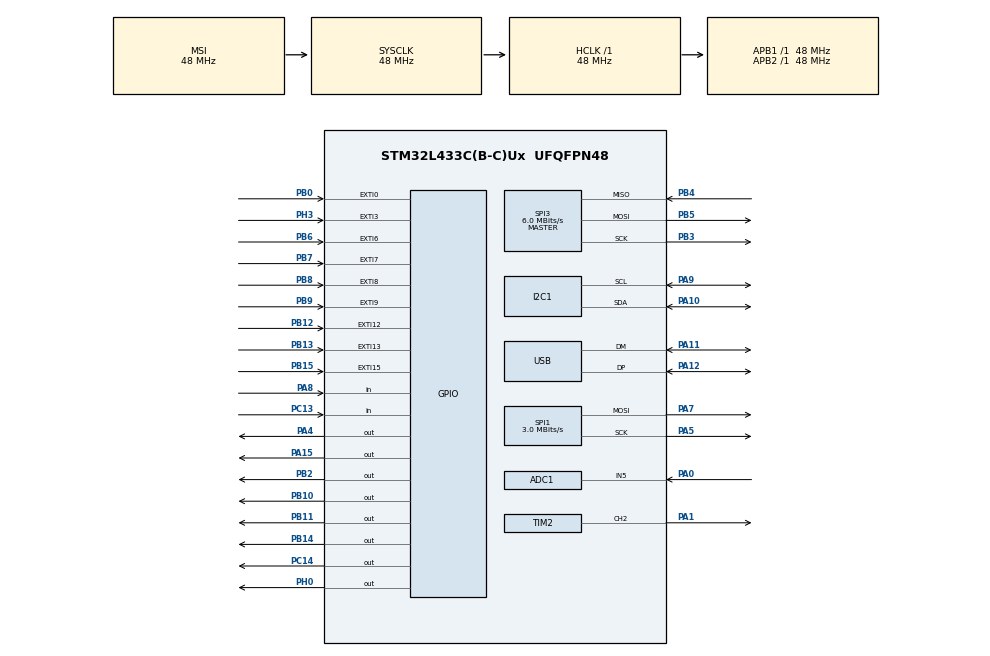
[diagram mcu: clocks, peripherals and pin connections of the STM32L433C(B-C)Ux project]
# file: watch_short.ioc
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ADC1.Channel-0\#ChannelRegularConversion=ADC_CHANNEL_5
ADC1.NbrOfConversionFlag=1
ADC1.OffsetNumber-0\#ChannelRegularConversion=ADC_OFFSET_NONE
ADC1.Rank-0\#ChannelRegularConversion=1
ADC1.SamplingTime-0\#ChannelRegularConversion=ADC_SAMPLETIME_2CYCLES_5
ADC1.master=1
Dma.Request0=SPI1_TX
Dma.SPI1_TX.0.Direction=DMA_MEMORY_TO_PERIPH
Dma.SPI1_TX.0.Instance=DMA1_Channel3
Dma.SPI1_TX.0.MemDataAlignment=DMA_MDATAALIGN_BYTE
Dma.SPI1_TX.0.MemInc=DMA_MINC_ENABLE
Dma.SPI1_TX.0.Mode=DMA_NORMAL
Dma.SPI1_TX.0.PeriphDataAlignment=DMA_PDATAALIGN_BYTE
Dma.SPI1_TX.0.PeriphInc=DMA_PINC_DISABLE
Dma.SPI1_TX.0.Priority=DMA_PRIORITY_LOW
I2C1.Timing=0x20303E5D
Mcu.Family=STM32L4
Mcu.Name=STM32L433C(B-C)Ux
Mcu.Package=UFQFPN48
NVIC.DMA1_Channel3_IRQn=true\:0\:0\:false\:false\:true
NVIC.EXTI0_IRQn=true\:0\:0\:false\:false\:true
NVIC.EXTI15_10_IRQn=true\:0\:0\:false\:false\:true
NVIC.EXTI3_IRQn=true\:0\:0\:false\:false\:true
NVIC.EXTI9_5_IRQn=true\:0\:0\:false\:false\:true
NVIC.PriorityGroup=NVIC_PRIORITYGROUP_4
NVIC.TIM6_DAC_IRQn=true\:0\:0\:false\:false\:true
NVIC.USB_IRQn=true\:0\:0\:false\:false\:true
PA0.Signal=ADCx_IN5
PA1.GPIO_Speed=GPIO_SPEED_FREQ_MEDIUM
PA1.Signal=S_TIM2_CH2
PA10.Mode=I2C
PA10.Signal=I2C1_SDA
PA11.Mode=Device
PA11.Signal=USB_DM
PA12.Mode=Device
PA12.Signal=USB_DP
PA13\ (JTMS-SWDIO).Mode=Serial_Wire
PA13\ (JTMS-SWDIO).Signal=SYS_JTMS-SWDIO
PA14\ (JTCK-SWCLK).Mode=Serial_Wire
PA14\ (JTCK-SWCLK).Signal=SYS_JTCK-SWCLK
PA15\ (JTDI).Signal=GPIO_Output
PA4.Signal=GPIO_Output
PA5.Mode=TX_Only_Simplex_Unidirect_Master
PA5.Signal=SPI1_SCK
PA7.Mode=TX_Only_Simplex_Unidirect_Master
PA7.Signal=SPI1_MOSI
PA8.Signal=GPIO_Input
PA9.Mode=I2C
PA9.Signal=I2C1_SCL
PB0.Signal=GPXTI0
PB10.Signal=GPIO_Output
PB11.Signal=GPIO_Output
PB12.Signal=GPXTI12
PB13.Signal=GPXTI13
PB14.Signal=GPIO_Output
PB15.Signal=GPXTI15
PB2.Signal=GPIO_Output
PB3\ (JTDO-TRACESWO).Mode=Full_Duplex_Master
PB3\ (JTDO-TRACESWO).Signal=SPI3_SCK
PB4\ (NJTRST).Mode=Full_Duplex_Master
PB4\ (NJTRST).Signal=SPI3_MISO
PB5.Mode=Full_Duplex_Master
PB5.Signal=SPI3_MOSI
PB6.Signal=GPXTI6
PB7.Signal=GPXTI7
PB8.Signal=GPXTI8
PB9.Signal=GPXTI9
PC13.Signal=GPIO_Input
PC14-OSC32_IN\ (PC14).Signal=GPIO_Output
PH0-OSC_IN\ (PH0).Signal=GPIO_Output
PH3-BOOT0.Signal=GPXTI3
ProjectManager.HeapSize=0x400
ProjectManager.StackSize=0x400
ProjectManager.TargetToolchain=SW4STM32
RCC.ADCCLockSelection=RCC_ADCCLKSOURCE_SYSCLK
RCC.ADCFreq_Value=48000000
RCC.AHBFreq_Value=48000000
RCC.APB1Freq_Value=48000000
RCC.APB1TimFreq_Value=48000000
RCC.APB2Freq_Value=48000000
RCC.APB2TimFreq_Value=48000000
RCC.CK48CLockSelection=RCC_USBCLKSOURCE_HSI48
RCC.CortexFreq_Value=48000000
RCC.HCLKFreq_Value=48000000
RCC.HSE_VALUE=8000000
RCC.HSI48_VALUE=48000000
RCC.HSI_VALUE=16000000
RCC.LSE_VALUE=32768
RCC.MSIClockRange=RCC_MSIRANGE_11
RCC.MSI_VALUE=48000000
RCC.PLLM=4
RCC.PLLN=12
RCC.PLLSAI1N=20
RCC.PLLSAI1Q=RCC_PLLQ_DIV8
RCC.PLLSAI1R=RCC_PLLR_DIV8
RCC.SYSCLKFreq_VALUE=48000000
RCC.USBFreq_Value=48000000
RCC.VCOOutputFreq_Value=144000000
RCC.VDD_VALUE=2.5
SH.ADCx_IN5.0=ADC1_IN5,IN5-Single-Ended
SH.S_TIM2_CH2.0=TIM2_CH2,PWM Generation2 CH2
SPI1.BaudRatePrescaler=SPI_BAUDRATEPRESCALER_16
SPI1.CalculateBaudRate=3.0 MBits/s
SPI1.DataSize=SPI_DATASIZE_8BIT
SPI1.Mode=SPI_MODE_MASTER
SPI1.NSSPMode=SPI_NSS_PULSE_DISABLE
SPI3.BaudRatePrescaler=SPI_BAUDRATEPRESCALER_8
SPI3.CalculateBaudRate=6.0 MBits/s
SPI3.DataSize=SPI_DATASIZE_8BIT
SPI3.Mode=SPI_MODE_MASTER
SPI3.NSSPMode=SPI_NSS_PULSE_DISABLE
TIM2.Channel-PWM\ Generation2\ CH2=TIM_CHANNEL_2
TIM2.Period=2250
TIM2.Prescaler=2
TIM2.Pulse-PWM\ Generation2\ CH2=1500
TIM6.Period=999
TIM6.Prescaler=999
USB.low_power_enable=ENABLE
USB_DEVICE.CLASS_NAME_FS=CDC
USB_DEVICE.USBD_HandleTypeDef=hUsbDeviceFS
USB_DEVICE.VirtualMode=Cdc
USB_DEVICE.VirtualModeFS=Cdc_FS
VP_RCC_USB.Mode=CRS SYNC Source USB
VP_TIM15_VS_ClockSourceINT.Mode=Internal
VP_TIM2_VS_ClockSourceINT.Mode=Internal
VP_TIM6_VS_ClockSourceINT.Mode=Enable_Timer
VP_TIM6_VS_OPM.Mode=OPM_bit
VP_USB_DEVICE_VS_USB_DEVICE_CDC_FS.Mode=CDC_FS
board=watch_short

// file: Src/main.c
/**
  ******************************************************************************
  * File Name          : main.c
  * Description        : Main program body
  ******************************************************************************
  *
  * Copyright (c) 2017 STMicroelectronics International N.V.
  * All rights reserved.
  *
  * Redistribution and use in source and binary forms, with or without
  * modification, are permitted, provided that the following conditions are met:
  *
  * 1. Redistribution of source code must retain the above copyright notice,
  *    this list of conditions and the following disclaimer.
  * 2. Redistributions in binary form must reproduce the above copyright notice,
  *    this list of conditions and the following disclaimer in the documentation
  *    and/or other materials provided with the distribution.
  * 3. Neither the name of STMicroelectronics nor the names of other
  *    contributors to this software may be used to endorse or promote products
  *    derived from this software without specific written permission.
  * 4. This software, including modifications and/or derivative works of this
  *    software, must execute solely and exclusively on microcontroller or
  *    microprocessor devices manufactured by or for STMicroelectronics.
  * 5. Redistribution and use of this software other than as permitted under
  *    this license is void and will automatically terminate your rights under
  *    this license.
  *
  * THIS SOFTWARE IS PROVIDED BY STMICROELECTRONICS AND CONTRIBUTORS "AS IS"
  * AND ANY EXPRESS, IMPLIED OR STATUTORY WARRANTIES, INCLUDING, BUT NOT
  * LIMITED TO, THE IMPLIED WARRANTIES OF MERCHANTABILITY, FITNESS FOR A
  * PARTICULAR PURPOSE AND NON-INFRINGEMENT OF THIRD PARTY INTELLECTUAL PROPERTY
  * RIGHTS ARE DISCLAIMED TO THE FULLEST EXTENT PERMITTED BY LAW. IN NO EVENT
  * SHALL STMICROELECTRONICS OR CONTRIBUTORS BE LIABLE FOR ANY DIRECT, INDIRECT,
  * INCIDENTAL, SPECIAL, EXEMPLARY, OR CONSEQUENTIAL DAMAGES (INCLUDING, BUT NOT
  * LIMITED TO, PROCUREMENT OF SUBSTITUTE GOODS OR SERVICES; LOSS OF USE, DATA,
  * OR PROFITS; OR BUSINESS INTERRUPTION) HOWEVER CAUSED AND ON ANY THEORY OF
  * LIABILITY, WHETHER IN CONTRACT, STRICT LIABILITY, OR TORT (INCLUDING
  * NEGLIGENCE OR OTHERWISE) ARISING IN ANY WAY OUT OF THE USE OF THIS SOFTWARE,
  * EVEN IF ADVISED OF THE POSSIBILITY OF SUCH DAMAGE.
  *
  ******************************************************************************
  */
#include "main.h"
#include "stm32l4xx_hal.h"
#include "usb_device.h"

/* USER CODE BEGIN Includes */
//#include "math.h"
//#include "stdlib.h"
#include "sh1106.h"
#include "kx023.h"
#include "m41t62.h"
#include "wotch.h"
#include "lcd.h"
#include "menu.h"
#include "usb.h"
/* USER CODE END Includes */

ADC_HandleTypeDef hadc1;

I2C_HandleTypeDef hi2c1;

SPI_HandleTypeDef hspi1;
SPI_HandleTypeDef hspi3;
DMA_HandleTypeDef hdma_spi1_tx;

TIM_HandleTypeDef htim2;
TIM_HandleTypeDef htim6;
TIM_HandleTypeDef htim15;

/* USER CODE BEGIN PV */
/* Private variables ---------------------------------------------------------*/
int error = 0;
wotch_struct wotch1;
uint32_t uhPrescalerValue = 0;
uint16_t adc_tmp1;

#define VREFINT_CAL_ADDR    0x1FFF75AA
#define  PERIOD_VALUE       (uint32_t)(3000 - 1)  /* Period Value  */
#define  PULSE1_VALUE       (uint32_t)(PERIOD_VALUE/2)        /* Capture Compare 1 Value  */
/* USER CODE END PV */

void SystemClock_Config(void);
void Error_Handler(void);
static void MX_GPIO_Init(void);
static void MX_DMA_Init(void);
static void MX_ADC1_Init(void);
static void MX_I2C1_Init(void);
static void MX_SPI1_Init(void);
static void MX_SPI3_Init(void);
static void MX_TIM2_Init(void);
static void MX_TIM6_Init(void);
static void MX_TIM15_Init(void);

void HAL_TIM_MspPostInit(TIM_HandleTypeDef *htim);
void go_into_stop2_mode(void);

/* USER CODE BEGIN PFP */
/* Private function prototypes -----------------------------------------------*/

/* USER CODE END PFP */

int main(void)
{

  /* MCU Configuration----------------------------------------------------------*/

  /* Reset of all peripherals, Initializes the Flash interface and the Systick. */

	HAL_Init();

	/* Configure the system clock */
	SystemClock_Config();

	/* Initialize all configured peripherals */
	MX_GPIO_Init();
	MX_DMA_Init();
	MX_ADC1_Init();
	MX_I2C1_Init();
	MX_SPI1_Init();
	MX_SPI3_Init();
	//MX_USB_DEVICE_Init();
	MX_TIM2_Init();
	MX_TIM6_Init();
	MX_TIM15_Init();

  /* USER CODE BEGIN 2 */
//	uhPrescalerValue = (uint32_t)(SystemCoreClock / 16000000) - 1;
//	htim2.Init.Prescaler = uhPrescalerValue;
//	HAL_TIM_Base_Init(&htim2);
	wotch_init(&wotch1);		// application initialization
	SH1106_init();				// OLED driver initialization
	wotch1.redraw();
	HAL_Delay(100);

	//show_main_screen(&wotch1);
	error = kx023_init();				// accelerometer initialization
    kx023_TAP_setup();
	m41t62_init(); 				// RTC initialization
	m41t62_SQW(1);				// start square wave output of RTC clock, GPIOB.8 pin

	if (HAL_ADCEx_Calibration_Start(&hadc1, ADC_SINGLE_ENDED) != HAL_OK)
	{
	    Error_Handler();
	};
//  read_bat_voltage();

uint16_t vrefint_cal;                        // VREFINT calibration value
vrefint_cal= *((uint16_t*)VREFINT_CAL_ADDR); // read VREFINT_CAL_ADDR memory location

//  htim2.Instance->ARR = 2250;
//  htim2.Instance->CCR2 = 1500;

  /* USER CODE END 2 */

  /* Infinite loop */
  /* USER CODE BEGIN WHILE */
//  uint8_t beep = 0;
//  if (beep){
//	  HAL_TIM_PWM_Start(&htim2, TIM_CHANNEL_2);
//	  HAL_Delay(300);
//	  HAL_TIM_PWM_Stop(&htim2, TIM_CHANNEL_2);
//	  beep = 0;
//  };
//

/* PWR mode STOP 2 testing */
  /* Enable Power Clock */
  __HAL_RCC_PWR_CLK_ENABLE();
  __HAL_RCC_WAKEUPSTOP_CLK_CONFIG(RCC_STOP_WAKEUPCLOCK_MSI); // Ensure that MSI is wake-up system clock
/* PWR mode STOP 2 testing */

  while (1)
  {
	second_int_manager(&wotch1); // manages 1sec period interrupts from RTC. Should run in parallel to all other apps
	wotch1.active_manager(&wotch1); // current active process (main screen, menu, end apps)
	//manage_buttons(&wotch1);
	//manage_taps_and_tilts(&wotch1);
	if (wotch1.measure_bat_voltage) // battery voltage measurement every 1 second
	{
		//HAL_ADCEx_Calibration_Start(&hadc1, ADC_SINGLE_ENDED);
		uint32_t a = (uint32_t)read_bat_voltage();
		float d = (float)a;
		wotch1.vbat = d*0.001462; //2.516Vdd*1.99divider/4095
		wotch1.measure_bat_voltage  = 0;
	};
//	if (usb_command_received)
//	{
//		USB_decode_command();
//	};

  /* USER CODE END WHILE */

  /* USER CODE BEGIN 3 */

/* PWR mode STOP 2 testing */
#if USE_STOP_MODE
	if ((wotch1.autosleep > 10000)&&(wotch1.use_autosleep))
	{
		wotch1.autosleep = 0;
		go_into_stop2_mode();
	};
#endif
/* PWR mode STOP 2 testing */

  }
  /* USER CODE END 3 */

}

/** System Clock Configuration
*/
void SystemClock_Config(void)
{

  RCC_OscInitTypeDef RCC_OscInitStruct;
  RCC_ClkInitTypeDef RCC_ClkInitStruct;
  RCC_PeriphCLKInitTypeDef PeriphClkInit;
  RCC_CRSInitTypeDef RCC_CRSInitStruct;

    /**Initializes the CPU, AHB and APB busses clocks
    */
  RCC_OscInitStruct.OscillatorType = RCC_OSCILLATORTYPE_HSI48|RCC_OSCILLATORTYPE_MSI;
  RCC_OscInitStruct.HSI48State = RCC_HSI48_ON;
  RCC_OscInitStruct.MSIState = RCC_MSI_ON;
  RCC_OscInitStruct.MSICalibrationValue = 0;
  RCC_OscInitStruct.MSIClockRange = RCC_MSIRANGE_11;
  RCC_OscInitStruct.PLL.PLLState = RCC_PLL_NONE;
  if (HAL_RCC_OscConfig(&RCC_OscInitStruct) != HAL_OK)
  {
    Error_Handler();
  }

    /**Initializes the CPU, AHB and APB busses clocks
    */
  RCC_ClkInitStruct.ClockType = RCC_CLOCKTYPE_HCLK|RCC_CLOCKTYPE_SYSCLK
                              |RCC_CLOCKTYPE_PCLK1|RCC_CLOCKTYPE_PCLK2;
  RCC_ClkInitStruct.SYSCLKSource = RCC_SYSCLKSOURCE_MSI;
  RCC_ClkInitStruct.AHBCLKDivider = RCC_SYSCLK_DIV1;
  RCC_ClkInitStruct.APB1CLKDivider = RCC_HCLK_DIV1;
  RCC_ClkInitStruct.APB2CLKDivider = RCC_HCLK_DIV1;

  if (HAL_RCC_ClockConfig(&RCC_ClkInitStruct, FLASH_LATENCY_2) != HAL_OK)
  {
    Error_Handler();
  }

  PeriphClkInit.PeriphClockSelection = RCC_PERIPHCLK_I2C1|RCC_PERIPHCLK_USB
                              |RCC_PERIPHCLK_ADC;
  PeriphClkInit.I2c1ClockSelection = RCC_I2C1CLKSOURCE_PCLK1;
  PeriphClkInit.AdcClockSelection = RCC_ADCCLKSOURCE_SYSCLK;
  PeriphClkInit.UsbClockSelection = RCC_USBCLKSOURCE_HSI48;
  if (HAL_RCCEx_PeriphCLKConfig(&PeriphClkInit) != HAL_OK)
  {
    Error_Handler();
  }

    /**Configure the main internal regulator output voltage
    */
  if (HAL_PWREx_ControlVoltageScaling(PWR_REGULATOR_VOLTAGE_SCALE1) != HAL_OK)
  {
    Error_Handler();
  }

    /**Configure the Systick interrupt time
    */
  HAL_SYSTICK_Config(HAL_RCC_GetHCLKFreq()/1000);

    /**Configure the Systick
    */
  HAL_SYSTICK_CLKSourceConfig(SYSTICK_CLKSOURCE_HCLK);

    /**Enable the SYSCFG APB clock
    */
  __HAL_RCC_CRS_CLK_ENABLE();

    /**Configures CRS
    */
  RCC_CRSInitStruct.Prescaler = RCC_CRS_SYNC_DIV1;
  RCC_CRSInitStruct.Source = RCC_CRS_SYNC_SOURCE_USB;
  RCC_CRSInitStruct.Polarity = RCC_CRS_SYNC_POLARITY_RISING;
  RCC_CRSInitStruct.ReloadValue = __HAL_RCC_CRS_RELOADVALUE_CALCULATE(48000000,1000);
  RCC_CRSInitStruct.ErrorLimitValue = 34;
  RCC_CRSInitStruct.HSI48CalibrationValue = 32;

  HAL_RCCEx_CRSConfig(&RCC_CRSInitStruct);

  /* SysTick_IRQn interrupt configuration */
  HAL_NVIC_SetPriority(SysTick_IRQn, 0, 0);
}

/* ADC1 init function */
static void MX_ADC1_Init(void)
{

  ADC_ChannelConfTypeDef sConfig;

    /**Common config
    */
  hadc1.Instance = ADC1;
  hadc1.Init.ClockPrescaler = ADC_CLOCK_ASYNC_DIV1;
  hadc1.Init.Resolution = ADC_RESOLUTION_12B;
  hadc1.Init.DataAlign = ADC_DATAALIGN_RIGHT;
  hadc1.Init.ScanConvMode = ADC_SCAN_DISABLE;
  hadc1.Init.EOCSelection = ADC_EOC_SINGLE_CONV;
  hadc1.Init.LowPowerAutoWait = DISABLE;
  hadc1.Init.ContinuousConvMode = DISABLE;
  hadc1.Init.NbrOfConversion = 1;
  hadc1.Init.DiscontinuousConvMode = DISABLE;
  hadc1.Init.NbrOfDiscConversion = 1;
  hadc1.Init.ExternalTrigConv = ADC_SOFTWARE_START;
  hadc1.Init.ExternalTrigConvEdge = ADC_EXTERNALTRIGCONVEDGE_NONE;
  hadc1.Init.DMAContinuousRequests = DISABLE;
  hadc1.Init.Overrun = ADC_OVR_DATA_PRESERVED;
  hadc1.Init.OversamplingMode = DISABLE;
  if (HAL_ADC_Init(&hadc1) != HAL_OK)
  {
    Error_Handler();
  }

    /**Configure Regular Channel
    */
  sConfig.Channel = ADC_CHANNEL_5;
  sConfig.Rank = 1;
  sConfig.SamplingTime = ADC_SAMPLETIME_92CYCLES_5;
  sConfig.SingleDiff = ADC_SINGLE_ENDED;
  sConfig.OffsetNumber = ADC_OFFSET_NONE;
  sConfig.Offset = 0;
  if (HAL_ADC_ConfigChannel(&hadc1, &sConfig) != HAL_OK)
  {
    Error_Handler();
  }

}

/* I2C1 init function */
static void MX_I2C1_Init(void)
{

  hi2c1.Instance = I2C1;
  hi2c1.Init.Timing = 0x20303E5D;
  hi2c1.Init.OwnAddress1 = 0;
  hi2c1.Init.AddressingMode = I2C_ADDRESSINGMODE_7BIT;
  hi2c1.Init.DualAddressMode = I2C_DUALADDRESS_DISABLE;
  hi2c1.Init.OwnAddress2 = 0;
  hi2c1.Init.OwnAddress2Masks = I2C_OA2_NOMASK;
  hi2c1.Init.GeneralCallMode = I2C_GENERALCALL_DISABLE;
  hi2c1.Init.NoStretchMode = I2C_NOSTRETCH_DISABLE;
  if (HAL_I2C_Init(&hi2c1) != HAL_OK)
  {
    Error_Handler();
  }

    /**Configure Analogue filter
    */
  if (HAL_I2CEx_ConfigAnalogFilter(&hi2c1, I2C_ANALOGFILTER_ENABLE) != HAL_OK)
  {
    Error_Handler();
  }

}

/* SPI1 init function */
static void MX_SPI1_Init(void)
{

  hspi1.Instance = SPI1;
  hspi1.Init.Mode = SPI_MODE_MASTER;
  hspi1.Init.Direction = SPI_DIRECTION_2LINES;
  hspi1.Init.DataSize = SPI_DATASIZE_8BIT;
  hspi1.Init.CLKPolarity = SPI_POLARITY_LOW;
  hspi1.Init.CLKPhase = SPI_PHASE_1EDGE;
  hspi1.Init.NSS = SPI_NSS_SOFT;
  hspi1.Init.BaudRatePrescaler = SPI_BAUDRATEPRESCALER_16;
  hspi1.Init.FirstBit = SPI_FIRSTBIT_MSB;
  hspi1.Init.TIMode = SPI_TIMODE_DISABLE;
  hspi1.Init.CRCCalculation = SPI_CRCCALCULATION_DISABLE;
  hspi1.Init.CRCPolynomial = 7;
  hspi1.Init.CRCLength = SPI_CRC_LENGTH_DATASIZE;
  hspi1.Init.NSSPMode = SPI_NSS_PULSE_DISABLE;
  if (HAL_SPI_Init(&hspi1) != HAL_OK)
  {
    Error_Handler();
  }

}

/* SPI3 init function */
static void MX_SPI3_Init(void)
{

  hspi3.Instance = SPI3;
  hspi3.Init.Mode = SPI_MODE_MASTER;
  hspi3.Init.Direction = SPI_DIRECTION_2LINES;
  hspi3.Init.DataSize = SPI_DATASIZE_8BIT;
  hspi3.Init.CLKPolarity = SPI_POLARITY_LOW;
  hspi3.Init.CLKPhase = SPI_PHASE_1EDGE;
  hspi3.Init.NSS = SPI_NSS_SOFT;
  hspi3.Init.BaudRatePrescaler = SPI_BAUDRATEPRESCALER_8;
  hspi3.Init.FirstBit = SPI_FIRSTBIT_MSB;
  hspi3.Init.TIMode = SPI_TIMODE_DISABLE;
  hspi3.Init.CRCCalculation = SPI_CRCCALCULATION_DISABLE;
  hspi3.Init.CRCPolynomial = 7;
  hspi3.Init.CRCLength = SPI_CRC_LENGTH_DATASIZE;
  hspi3.Init.NSSPMode = SPI_NSS_PULSE_DISABLE;
  if (HAL_SPI_Init(&hspi3) != HAL_OK)
  {
    Error_Handler();
  }

}

/* TIM2 init function */
static void MX_TIM2_Init(void)
{

  TIM_ClockConfigTypeDef sClockSourceConfig;
  TIM_MasterConfigTypeDef sMasterConfig;
  TIM_OC_InitTypeDef sConfigOC;

  htim2.Instance = TIM2;
  htim2.Init.Prescaler = 2;
  htim2.Init.CounterMode = TIM_COUNTERMODE_UP;
  htim2.Init.Period = 2250;
  htim2.Init.ClockDivision = TIM_CLOCKDIVISION_DIV1;
  if (HAL_TIM_Base_Init(&htim2) != HAL_OK)
  {
    Error_Handler();
  }

  sClockSourceConfig.ClockSource = TIM_CLOCKSOURCE_INTERNAL;
  if (HAL_TIM_ConfigClockSource(&htim2, &sClockSourceConfig) != HAL_OK)
  {
    Error_Handler();
  }

  if (HAL_TIM_PWM_Init(&htim2) != HAL_OK)
  {
    Error_Handler();
  }

  sMasterConfig.MasterOutputTrigger = TIM_TRGO_RESET;
  sMasterConfig.MasterSlaveMode = TIM_MASTERSLAVEMODE_DISABLE;
  if (HAL_TIMEx_MasterConfigSynchronization(&htim2, &sMasterConfig) != HAL_OK)
  {
    Error_Handler();
  }

  sConfigOC.OCMode = TIM_OCMODE_PWM1;
  sConfigOC.Pulse = 1500;
  sConfigOC.OCPolarity = TIM_OCPOLARITY_HIGH;
  sConfigOC.OCFastMode = TIM_OCFAST_DISABLE;
  if (HAL_TIM_PWM_ConfigChannel(&htim2, &sConfigOC, TIM_CHANNEL_2) != HAL_OK)
  {
    Error_Handler();
  }

  HAL_TIM_MspPostInit(&htim2);

}

/* TIM6 init function */
static void MX_TIM6_Init(void)
{

  TIM_MasterConfigTypeDef sMasterConfig;

  htim6.Instance = TIM6;
  htim6.Init.Prescaler = 999;
  htim6.Init.CounterMode = TIM_COUNTERMODE_UP;
  htim6.Init.Period = 9999;
  if (HAL_TIM_Base_Init(&htim6) != HAL_OK)
  {
    Error_Handler();
  }

//  if (HAL_TIM_OnePulse_Init(&htim6, TIM_OPMODE_SINGLE) != HAL_OK)
//  {
//    Error_Handler();
//  }

  sMasterConfig.MasterOutputTrigger = TIM_TRGO_RESET;
  sMasterConfig.MasterSlaveMode = TIM_MASTERSLAVEMODE_DISABLE;
  if (HAL_TIMEx_MasterConfigSynchronization(&htim6, &sMasterConfig) != HAL_OK)
  {
    Error_Handler();
  }
  /* USER CODE BEGIN 4 */
  if (HAL_TIM_Base_Start_IT(&htim6) != HAL_OK)
    {
      Error_Handler();
    }
  /* USER CODE END 4 */
}

/* TIM15 init function */
static void MX_TIM15_Init(void)
{

  TIM_ClockConfigTypeDef sClockSourceConfig;
  TIM_MasterConfigTypeDef sMasterConfig;

  htim15.Instance = TIM15;
  htim15.Init.Prescaler = 0;
  htim15.Init.CounterMode = TIM_COUNTERMODE_UP;
  htim15.Init.Period = 0;
  htim15.Init.ClockDivision = TIM_CLOCKDIVISION_DIV1;
  htim15.Init.RepetitionCounter = 0;
  if (HAL_TIM_Base_Init(&htim15) != HAL_OK)
  {
    Error_Handler();
  }

  sClockSourceConfig.ClockSource = TIM_CLOCKSOURCE_INTERNAL;
  if (HAL_TIM_ConfigClockSource(&htim15, &sClockSourceConfig) != HAL_OK)
  {
    Error_Handler();
  }

  sMasterConfig.MasterOutputTrigger = TIM_TRGO_RESET;
  sMasterConfig.MasterSlaveMode = TIM_MASTERSLAVEMODE_DISABLE;
  if (HAL_TIMEx_MasterConfigSynchronization(&htim15, &sMasterConfig) != HAL_OK)
  {
    Error_Handler();
  }

}

static void MX_DMA_Init(void)
{
  /* DMA controller clock enable */
  __HAL_RCC_DMA1_CLK_ENABLE();

  /* DMA interrupt init */
  /* DMA1_Channel3_IRQn interrupt configuration */
  HAL_NVIC_SetPriority(DMA1_Channel3_IRQn, 0, 0);
  HAL_NVIC_EnableIRQ(DMA1_Channel3_IRQn);

}

/** Configure pins as
        * Analog
        * Input
        * Output
        * EVENT_OUT
        * EXTI
*/
static void MX_GPIO_Init(void)
{

  GPIO_InitTypeDef GPIO_InitStruct;

  /* GPIO Ports Clock Enable */
  __HAL_RCC_GPIOC_CLK_ENABLE();
  __HAL_RCC_GPIOH_CLK_ENABLE();
  __HAL_RCC_GPIOA_CLK_ENABLE();
  __HAL_RCC_GPIOB_CLK_ENABLE();

  /*Configure GPIO pin : PC13 */
  GPIO_InitStruct.Pin = GPIO_PIN_13;
  GPIO_InitStruct.Mode = GPIO_MODE_INPUT;
  GPIO_InitStruct.Pull = GPIO_NOPULL;
  HAL_GPIO_Init(GPIOC, &GPIO_InitStruct);

  /*Configure GPIO pin : PC14 */
  GPIO_InitStruct.Pin = GPIO_PIN_14;
  GPIO_InitStruct.Mode = GPIO_MODE_OUTPUT_PP;
  GPIO_InitStruct.Pull = GPIO_NOPULL;
  GPIO_InitStruct.Speed = GPIO_SPEED_FREQ_LOW;
  HAL_GPIO_Init(GPIOC, &GPIO_InitStruct);

  /*Configure GPIO pin : PH0 */
  GPIO_InitStruct.Pin = GPIO_PIN_0;
  GPIO_InitStruct.Mode = GPIO_MODE_OUTPUT_PP;
  GPIO_InitStruct.Pull = GPIO_NOPULL;
  GPIO_InitStruct.Speed = GPIO_SPEED_FREQ_LOW;
  HAL_GPIO_Init(GPIOH, &GPIO_InitStruct);

  /*Configure GPIO pins : PA4 PA15 */
  GPIO_InitStruct.Pin = GPIO_PIN_4|GPIO_PIN_15;
  GPIO_InitStruct.Mode = GPIO_MODE_OUTPUT_PP;
  GPIO_InitStruct.Pull = GPIO_NOPULL;
  GPIO_InitStruct.Speed = GPIO_SPEED_FREQ_LOW;
  HAL_GPIO_Init(GPIOA, &GPIO_InitStruct);

  /*Configure GPIO pins : PB0 PB12 PB13 PB15
                           PB6 PB7 PB9 */
  GPIO_InitStruct.Pin = GPIO_PIN_0|GPIO_PIN_12|GPIO_PIN_13|GPIO_PIN_15
                          |GPIO_PIN_6|GPIO_PIN_7|GPIO_PIN_9;
  GPIO_InitStruct.Mode = GPIO_MODE_IT_RISING;
  GPIO_InitStruct.Pull = GPIO_NOPULL;
  HAL_GPIO_Init(GPIOB, &GPIO_InitStruct);

  /*Configure GPIO pins : PB2 PB10 PB11 PB14 */
  GPIO_InitStruct.Pin = GPIO_PIN_2|GPIO_PIN_10|GPIO_PIN_11|GPIO_PIN_14;
  GPIO_InitStruct.Mode = GPIO_MODE_OUTPUT_PP;
  GPIO_InitStruct.Pull = GPIO_NOPULL;
  GPIO_InitStruct.Speed = GPIO_SPEED_FREQ_LOW;
  HAL_GPIO_Init(GPIOB, &GPIO_InitStruct);

  /*Configure GPIO pin : PA8 */
  GPIO_InitStruct.Pin = GPIO_PIN_8;
  GPIO_InitStruct.Mode = GPIO_MODE_IT_RISING;
  GPIO_InitStruct.Pull = GPIO_NOPULL;
  HAL_GPIO_Init(GPIOB, &GPIO_InitStruct);

  /*Configure GPIO pin : PH3 */
  GPIO_InitStruct.Pin = GPIO_PIN_3;
  GPIO_InitStruct.Mode = GPIO_MODE_IT_RISING;
  GPIO_InitStruct.Pull = GPIO_NOPULL;
  HAL_GPIO_Init(GPIOH, &GPIO_InitStruct);

  /*Configure GPIO pin : PB8 */
  GPIO_InitStruct.Pin = GPIO_PIN_8;
  GPIO_InitStruct.Mode = GPIO_MODE_INPUT;
  GPIO_InitStruct.Pull = GPIO_NOPULL;
  HAL_GPIO_Init(GPIOA, &GPIO_InitStruct);

  /*Configure GPIO pin Output Level */
  HAL_GPIO_WritePin(GPIOC, GPIO_PIN_14, GPIO_PIN_RESET);

  /*Configure GPIO pin Output Level */
  HAL_GPIO_WritePin(GPIOH, GPIO_PIN_0, GPIO_PIN_RESET);

  /*Configure GPIO pin Output Level */
  HAL_GPIO_WritePin(GPIOA, GPIO_PIN_4|GPIO_PIN_15, GPIO_PIN_RESET);

  /*Configure GPIO pin Output Level */
  HAL_GPIO_WritePin(GPIOB, GPIO_PIN_2|GPIO_PIN_10|GPIO_PIN_11|GPIO_PIN_14, GPIO_PIN_RESET);

  /* EXTI interrupt init*/
  HAL_NVIC_SetPriority(EXTI0_IRQn, 0, 0);
  HAL_NVIC_EnableIRQ(EXTI0_IRQn);

  HAL_NVIC_SetPriority(EXTI3_IRQn, 0, 0);
  HAL_NVIC_EnableIRQ(EXTI3_IRQn);

  HAL_NVIC_SetPriority(EXTI9_5_IRQn, 0, 0);
  HAL_NVIC_EnableIRQ(EXTI9_5_IRQn);

  HAL_NVIC_SetPriority(EXTI15_10_IRQn, 0, 0);
  HAL_NVIC_EnableIRQ(EXTI15_10_IRQn);

}

void Error_Handler(void)
{
  while(1)
  {
  }
}

void go_into_stop2_mode(void)
{
	GPIO_InitTypeDef GPIO_InitStructure;
	//uint32_t save_moder_reg[4];				// for saving contents of GPIOx_MODER registers

	SH1106_command(SH1106_DISPLAY_OFF); // SPI1, turn display off
	kx023_WUM_setup();// SPI3 configure accelerometer into low power mode
	m41t62_SQW(0);// I2C1, send new config to RTC to stop square wave

	/* Now disable all peripherals */
	//__disable_irq();
	HAL_I2C_DeInit(&hi2c1); //__HAL_I2C_DISABLE(&hi2c1); //need to be done acc to ref_man
	// also make sure SPI1 and SPI3 are not sending/receiving, then disable them
	__HAL_SPI_DISABLE(&hspi1);
	__HAL_SPI_DISABLE(&hspi3);

	// ADC should also be disabled, the question is DEEPSLEEP or not
	HAL_ADC_DeInit(&hadc1); //??? 16.4.9 of the ref man

	__HAL_GPIO_EXTI_CLEAR_IT(GPIO_PIN_All);

/*	save_moder_reg[0] = GPIOA->MODER;
	save_moder_reg[1] = GPIOB->MODER;
	save_moder_reg[2] = GPIOC->MODER;
	save_moder_reg[3] = GPIOH->MODER;
	GPIOA->MODER = 0xFFFFFFFF;
	GPIOB->MODER = 0xFFFFFFFF;
	GPIOC->MODER = 0xFFFFFFFF;
	GPIOH->MODER = 0x000000FF;

	GPIO_InitStructure.Pin = GPIO_PIN_All;
	GPIO_InitStructure.Mode = GPIO_MODE_ANALOG;
	GPIO_InitStructure.Pull = GPIO_NOPULL;
    HAL_GPIO_Init(GPIOA, &GPIO_InitStructure);
    HAL_GPIO_Init(GPIOB, &GPIO_InitStructure);
    HAL_GPIO_Init(GPIOC, &GPIO_InitStructure);
    HAL_GPIO_Init(GPIOH, &GPIO_InitStructure);

	GPIO_InitStructure.Pin = GPIO_PIN_9 | GPIO_PIN_10; //I2C1 pins
	GPIO_InitStructure.Mode = GPIO_MODE_ANALOG;
	GPIO_InitStructure.Pull = GPIO_NOPULL;
    HAL_GPIO_Init(GPIOA, &GPIO_InitStructure);

	GPIO_InitStructure.Pin = GPIO_PIN_8; //I2C1 pins
	GPIO_InitStructure.Mode = GPIO_MODE_ANALOG;
	GPIO_InitStructure.Pull = GPIO_NOPULL;
    HAL_GPIO_Init(GPIOB, &GPIO_InitStructure);
*/
	HAL_SuspendTick(); //looks like this made a trick
	HAL_PWREx_EnterSTOP2Mode(PWR_STOPENTRY_WFI);
	//HAL_Delay(5000);
		/* STOP2 MODE ....................................Z-z-z-z-z............................. */
	  //__enable_irq();
	  //SYSCLKConfig_STOP();
	 // SystemClock_Config(); //is it really needed?
/*	GPIO_InitStructure.Pin = GPIO_PIN_9 | GPIO_PIN_10; //I2C1 pins
	GPIO_InitStructure.Mode = GPIO_MODE_AF_OD;
	GPIO_InitStructure.Pull = GPIO_NOPULL;
    HAL_GPIO_Init(GPIOA, &GPIO_InitStructure);

	GPIO_InitStructure.Pin = GPIO_PIN_8; //I2C1 pins
	GPIO_InitStructure.Mode = GPIO_MODE_IT_RISING;
	GPIO_InitStructure.Pull = GPIO_NOPULL;
    HAL_GPIO_Init(GPIOB, &GPIO_InitStructure);
	GPIOA->MODER = save_moder_reg[0];
	GPIOB->MODER = save_moder_reg[1];
	GPIOC->MODER = save_moder_reg[2];
	GPIOH->MODER = save_moder_reg[3];
*/
	HAL_ResumeTick();

	HAL_I2C_Init(&hi2c1); //__HAL_I2C_ENABLE(&hi2c1);
	HAL_SPI_Init(&hspi3); //__HAL_SPI_ENABLE(&hspi3);
	HAL_SPI_Init(&hspi1); //__HAL_SPI_ENABLE(&hspi1);

	MX_ADC1_Init();
	if (HAL_ADCEx_Calibration_Start(&hadc1, ADC_SINGLE_ENDED) != HAL_OK)
	{
	    Error_Handler();
	};
	//HAL_ADC_Init(&hadc1);
	m41t62_SQW(1);
	kx023_TAP_setup();
	SH1106_command(SH1106_DISPLAY_ON);
	show_main_screen(&wotch1);

}

/************************ (C) COPYRIGHT STMicroelectronics *****END OF FILE****/
